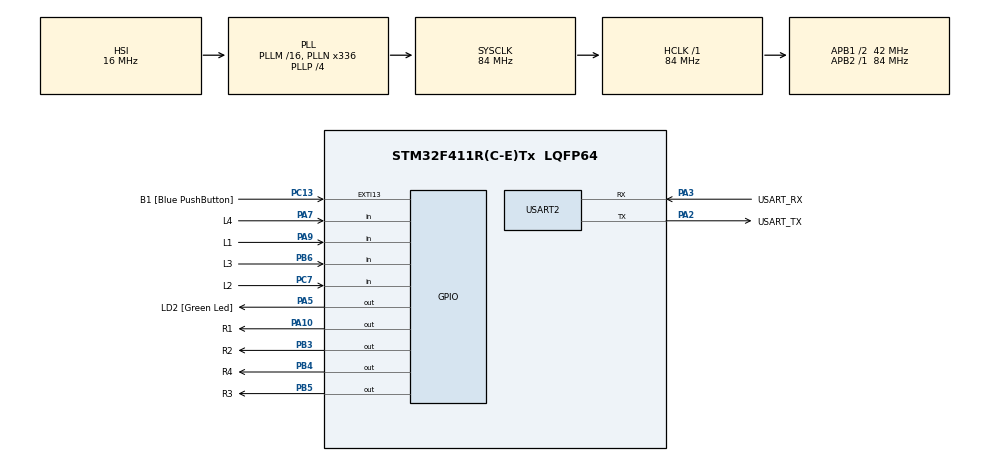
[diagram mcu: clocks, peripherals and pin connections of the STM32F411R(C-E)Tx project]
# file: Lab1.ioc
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Mcu.Family=STM32F4
Mcu.Name=STM32F411R(C-E)Tx
Mcu.Package=LQFP64
NVIC.PriorityGroup=NVIC_PRIORITYGROUP_0
PA10.GPIO_Label=R1
PA10.GPIO_ModeDefaultOutputPP=GPIO_MODE_OUTPUT_OD
PA10.GPIO_PuPd=GPIO_NOPULL
PA10.Signal=GPIO_Output
PA13.GPIO_Label=TMS
PA13.Mode=Serial_Wire
PA13.Signal=SYS_JTMS-SWDIO
PA14.GPIO_Label=TCK
PA14.Mode=Serial_Wire
PA14.Signal=SYS_JTCK-SWCLK
PA2.GPIO_Label=USART_TX
PA2.Mode=Asynchronous
PA2.Signal=USART2_TX
PA3.GPIO_Label=USART_RX
PA3.Mode=Asynchronous
PA3.Signal=USART2_RX
PA5.GPIO_Label=LD2 [Green Led]
PA5.Signal=GPIO_Output
PA7.GPIO_Label=L4
PA7.GPIO_PuPd=GPIO_PULLUP
PA7.Signal=GPIO_Input
PA9.GPIO_Label=L1
PA9.GPIO_PuPd=GPIO_PULLUP
PA9.Signal=GPIO_Input
PB3.GPIO_Label=R2
PB3.GPIO_ModeDefaultOutputPP=GPIO_MODE_OUTPUT_OD
PB3.GPIO_PuPd=GPIO_NOPULL
PB3.Signal=GPIO_Output
PB4.GPIO_Label=R4
PB4.GPIO_ModeDefaultOutputPP=GPIO_MODE_OUTPUT_OD
PB4.GPIO_PuPd=GPIO_NOPULL
PB4.Signal=GPIO_Output
PB5.GPIO_Label=R3
PB5.GPIO_ModeDefaultOutputPP=GPIO_MODE_OUTPUT_OD
PB5.GPIO_PuPd=GPIO_NOPULL
PB5.Signal=GPIO_Output
PB6.GPIO_Label=L3
PB6.GPIO_PuPd=GPIO_PULLUP
PB6.Signal=GPIO_Input
PC13-ANTI_TAMP.GPIO_Label=B1 [Blue PushButton]
PC13-ANTI_TAMP.GPIO_ModeDefaultEXTI=GPIO_MODE_IT_FALLING
PC13-ANTI_TAMP.Signal=GPXTI13
PC14-OSC32_IN.Mode=LSE-External-Oscillator
PC14-OSC32_IN.Signal=RCC_OSC32_IN
PC15-OSC32_OUT.Mode=LSE-External-Oscillator
PC15-OSC32_OUT.Signal=RCC_OSC32_OUT
PC7.GPIO_Label=L2
PC7.GPIO_PuPd=GPIO_PULLUP
PC7.Signal=GPIO_Input
PH0\ -\ OSC_IN.Mode=HSE-External-Clock-Source
PH0\ -\ OSC_IN.Signal=RCC_OSC_IN
PH1\ -\ OSC_OUT.Mode=HSE-External-Clock-Source
PH1\ -\ OSC_OUT.Signal=RCC_OSC_OUT
ProjectManager.HeapSize=0x200
ProjectManager.StackSize=0x400
ProjectManager.TargetToolchain=STM32CubeIDE
RCC.48MHZClocksFreq_Value=84000000
RCC.AHBFreq_Value=84000000
RCC.APB1CLKDivider=RCC_HCLK_DIV2
RCC.APB1Freq_Value=42000000
RCC.APB1TimFreq_Value=84000000
RCC.APB2Freq_Value=84000000
RCC.APB2TimFreq_Value=84000000
RCC.CortexFreq_Value=84000000
RCC.FLatency-AdvancedSettings=FLASH_LATENCY_2
RCC.HCLKFreq_Value=84000000
RCC.HSE_VALUE=8000000
RCC.HSI_VALUE=16000000
RCC.PLLN=336
RCC.PLLP=RCC_PLLP_DIV4
RCC.SYSCLKFreq_VALUE=84000000
RCC.SYSCLKSource=RCC_SYSCLKSOURCE_PLLCLK
RCC.VCOOutputFreq_Value=336000000
USART2.VirtualMode=VM_ASYNC
board=NUCLEO-F411RE

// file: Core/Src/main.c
/* USER CODE BEGIN Header */
/**
  ******************************************************************************
  * @file           : main.c
  * @brief          : Main program body
  ******************************************************************************
  * @attention
  *
  * Copyright (c) 2023 STMicroelectronics.
  * All rights reserved.
  *
  * This software is licensed under terms that can be found in the LICENSE file
  * in the root directory of this software component.
  * If no LICENSE file comes with this software, it is provided AS-IS.
  *
  ******************************************************************************
  */
/* USER CODE END Header */
#include "main.h"

/* USER CODE BEGIN Includes */
#include<stdio.h>
/* USER CODE END Includes */

UART_HandleTypeDef huart2;

/* USER CODE BEGIN PV */
struct Portpin
{
	GPIO_TypeDef* PORT ;
	uint16_t PIN ;
};

struct Portpin R[4] = {
		{GPIOA,GPIO_PIN_10},
		{GPIOB,GPIO_PIN_3},
		{GPIOB,GPIO_PIN_5},
		{GPIOB,GPIO_PIN_4}
};
struct Portpin L[4] = {
		{GPIOA,GPIO_PIN_9},
		{GPIOC,GPIO_PIN_7},
		{GPIOB,GPIO_PIN_6},
		{GPIOA,GPIO_PIN_7}
};

uint16_t ButtonMatrix = 0 ;
uint16_t position = 0 ;
uint16_t data = 0 ;
uint16_t check = 0 ;
char TrueID [11] = {6,4,3,4,0,5,0,0,0,0,9};
char ID [11] = {0} ;
/* USER CODE END PV */

void SystemClock_Config(void);
static void MX_GPIO_Init(void);
static void MX_USART2_UART_Init(void);
/* USER CODE BEGIN PFP */
void ReadMatrixButton_1Row();
/* USER CODE END PFP */

int main(void)
{

  /* MCU Configuration--------------------------------------------------------*/

  /* Reset of all peripherals, Initializes the Flash interface and the Systick. */
  HAL_Init();

  /* Configure the system clock */
  SystemClock_Config();

  /* Initialize all configured peripherals */
  MX_GPIO_Init();
  MX_USART2_UART_Init();

  /* Infinite loop */
  while (1)
  {

    /* USER CODE BEGIN 3 */
	  static uint32_t timestamp = 0;
	  static uint32_t delay = 20;
	  if(HAL_GetTick() >= timestamp)
	  	  	{
	  	  		timestamp = HAL_GetTick() + delay ;
	  	  		ReadMatrixButton_1Row();
	  	  		if (ButtonMatrix == 8 && data == 0)
	  	  		{
	  	  			ID[position] = 0 ;
	  	  			position += 1 ;
	  	  			data = 1 ;
	  	  		}
	  	  		else if (ButtonMatrix == 4 && data == 0)
	  	  		{
	  	  			ID[position] = 1 ;
	  	  			position += 1 ;
	  	  			data = 1 ;
	  	  		}
	  	  	    else if (ButtonMatrix == 64 && data == 0)
	   	  		{
	  	  		  	ID[position] = 2 ;
	  	  		  	position += 1 ;
	  	  		  	data = 1 ;
	   	  		}
	  	  	    else if (ButtonMatrix == 1024 && data == 0)
	  	  		{
	  	   		  	ID[position] = 3 ;
	  	  		  	position += 1 ;
  	  		  	    data = 1 ;
	  	  		}
	  	  	    else if (ButtonMatrix == 2 && data == 0)
	  	  		{
	  	  		   	ID[position] = 4 ;
	  	  		  	position += 1 ;
	  		  	    data = 1 ;
	  	  		}
	  	  	    else if (ButtonMatrix == 32 && data == 0)
	  	  		{
	  	  		  	ID[position] = 5 ;
	  	  		  	position += 1 ;
	  	  	  	    data = 1 ;
	  	  		}
	  	  	    else if (ButtonMatrix == 512 && data == 0)
	  	   		{
	  	  	  	    ID[position] = 6 ;
	  	  	  	    position += 1 ;
	  	    	    data = 1 ;
 	  	  		}
	  	  	    else if (ButtonMatrix == 1 && data == 0)
	  		  	{
	  		  	    ID[position] = 7 ;
	  		  	  	position += 1 ;
	  	  	  		data = 1 ;
	  		  	}
	  	  	    else if (ButtonMatrix == 16 && data == 0)
	  		  	{
	  		  	    ID[position] = 8 ;
	  		  	  	position += 1 ;
	  	  	  		data = 1 ;
	  		  	}
	  	  	    else if (ButtonMatrix == 256 && data == 0)
	  		  	{
	  		  	    ID[position] = 9 ;
	  		  	    position += 1 ;
	  	  	  		data = 1 ;
	  		  	}
	  	  	    else if (ButtonMatrix == 4096 && data == 0)
	  	  		{
	  	  		  register int j  ;
	  	  		  HAL_GPIO_WritePin(GPIOA, GPIO_PIN_5, GPIO_PIN_RESET);
	  	  		  data = 1 ;
	  	  		  position = 0 ;
	  	  		  for(j = 0;j<11;j++)
	  	  		  {
	  	  			  ID [j] = 0 ;
	  	  		  }
	  	  		}
	  	  	    else if (ButtonMatrix == 8192 && data == 0)
	  	  		{
	  	  	    	 data = 1 ;
	  	  	    	 if(position == 0)
	  	  		  	 {
	  	  	    			ID[10] = 0 ;
	  	  		  	   		position = 10 ;

	  	  		  	 }
	  	  		  	 else if(position > 0)
	  	  		  	 {
	  	  		  		 ID[position-1] = 0 ;
	  	  		  		 position -=1 ;
	  	  		  	 }
	  	  		}
	  	  	    else if (ButtonMatrix == 32768 && data == 0)
	  	  		{
	  	  	    	data = 1 ;
	  	  	    	register i ;
	  	  	    	for(i = 0;i<11;i++)
	  	  	    	{
	  	  	    	  if(ID [i] == TrueID[i])
	  	  	    	  {
	  	  	    	  	  check = 1 ;
	  	  	    	  }
	  	  	    	  else
	  	  	    	  {
	  	  	    	  	  check = 0 ;
	  	  	    	  }
	  	  	    	  	  		}
	  	  	    	if(check == 1)
	  	  	    	{
	  	  	    		HAL_GPIO_WritePin(GPIOA, GPIO_PIN_5, GPIO_PIN_SET);
	  	  	    	}
	  	  	    	else {
	  	  	    		HAL_GPIO_WritePin(GPIOA, GPIO_PIN_5, GPIO_PIN_RESET);
	  	  	    	}
	  	  		}
	  	  		if(ButtonMatrix == 0 && data == 1)
	  	  		{
	  	  			data = 0 ;
	  	  		}
	  	  		if(position == 11)
	  	  		{
	  	  			position = 0;
	  	  		}
	  	  	}

  }
  /* USER CODE END 3 */
}

void SystemClock_Config(void)
{
  RCC_OscInitTypeDef RCC_OscInitStruct = {0};
  RCC_ClkInitTypeDef RCC_ClkInitStruct = {0};

  /** Configure the main internal regulator output voltage
  */
  __HAL_RCC_PWR_CLK_ENABLE();
  __HAL_PWR_VOLTAGESCALING_CONFIG(PWR_REGULATOR_VOLTAGE_SCALE1);

  /** Initializes the RCC Oscillators according to the specified parameters
  * in the RCC_OscInitTypeDef structure.
  */
  RCC_OscInitStruct.OscillatorType = RCC_OSCILLATORTYPE_HSI;
  RCC_OscInitStruct.HSIState = RCC_HSI_ON;
  RCC_OscInitStruct.HSICalibrationValue = RCC_HSICALIBRATION_DEFAULT;
  RCC_OscInitStruct.PLL.PLLState = RCC_PLL_ON;
  RCC_OscInitStruct.PLL.PLLSource = RCC_PLLSOURCE_HSI;
  RCC_OscInitStruct.PLL.PLLM = 16;
  RCC_OscInitStruct.PLL.PLLN = 336;
  RCC_OscInitStruct.PLL.PLLP = RCC_PLLP_DIV4;
  RCC_OscInitStruct.PLL.PLLQ = 4;
  if (HAL_RCC_OscConfig(&RCC_OscInitStruct) != HAL_OK)
  {
    Error_Handler();
  }

  /** Initializes the CPU, AHB and APB buses clocks
  */
  RCC_ClkInitStruct.ClockType = RCC_CLOCKTYPE_HCLK|RCC_CLOCKTYPE_SYSCLK
                              |RCC_CLOCKTYPE_PCLK1|RCC_CLOCKTYPE_PCLK2;
  RCC_ClkInitStruct.SYSCLKSource = RCC_SYSCLKSOURCE_PLLCLK;
  RCC_ClkInitStruct.AHBCLKDivider = RCC_SYSCLK_DIV1;
  RCC_ClkInitStruct.APB1CLKDivider = RCC_HCLK_DIV2;
  RCC_ClkInitStruct.APB2CLKDivider = RCC_HCLK_DIV1;

  if (HAL_RCC_ClockConfig(&RCC_ClkInitStruct, FLASH_LATENCY_2) != HAL_OK)
  {
    Error_Handler();
  }
}

static void MX_USART2_UART_Init(void)
{

  huart2.Instance = USART2;
  huart2.Init.BaudRate = 115200;
  huart2.Init.WordLength = UART_WORDLENGTH_8B;
  huart2.Init.StopBits = UART_STOPBITS_1;
  huart2.Init.Parity = UART_PARITY_NONE;
  huart2.Init.Mode = UART_MODE_TX_RX;
  huart2.Init.HwFlowCtl = UART_HWCONTROL_NONE;
  huart2.Init.OverSampling = UART_OVERSAMPLING_16;
  if (HAL_UART_Init(&huart2) != HAL_OK)
  {
    Error_Handler();
  }

}

static void MX_GPIO_Init(void)
{
  GPIO_InitTypeDef GPIO_InitStruct = {0};

  /* GPIO Ports Clock Enable */
  __HAL_RCC_GPIOC_CLK_ENABLE();
  __HAL_RCC_GPIOH_CLK_ENABLE();
  __HAL_RCC_GPIOA_CLK_ENABLE();
  __HAL_RCC_GPIOB_CLK_ENABLE();

  /*Configure GPIO pin Output Level */
  HAL_GPIO_WritePin(GPIOA, LD2_Pin|R1_Pin, GPIO_PIN_RESET);

  /*Configure GPIO pin Output Level */
  HAL_GPIO_WritePin(GPIOB, R2_Pin|R4_Pin|R3_Pin, GPIO_PIN_RESET);

  /*Configure GPIO pin : B1_Pin */
  GPIO_InitStruct.Pin = B1_Pin;
  GPIO_InitStruct.Mode = GPIO_MODE_IT_FALLING;
  GPIO_InitStruct.Pull = GPIO_NOPULL;
  HAL_GPIO_Init(B1_GPIO_Port, &GPIO_InitStruct);

  /*Configure GPIO pin : LD2_Pin */
  GPIO_InitStruct.Pin = LD2_Pin;
  GPIO_InitStruct.Mode = GPIO_MODE_OUTPUT_PP;
  GPIO_InitStruct.Pull = GPIO_NOPULL;
  GPIO_InitStruct.Speed = GPIO_SPEED_FREQ_LOW;
  HAL_GPIO_Init(LD2_GPIO_Port, &GPIO_InitStruct);

  /*Configure GPIO pins : L4_Pin L1_Pin */
  GPIO_InitStruct.Pin = L4_Pin|L1_Pin;
  GPIO_InitStruct.Mode = GPIO_MODE_INPUT;
  GPIO_InitStruct.Pull = GPIO_PULLUP;
  HAL_GPIO_Init(GPIOA, &GPIO_InitStruct);

  /*Configure GPIO pin : L2_Pin */
  GPIO_InitStruct.Pin = L2_Pin;
  GPIO_InitStruct.Mode = GPIO_MODE_INPUT;
  GPIO_InitStruct.Pull = GPIO_PULLUP;
  HAL_GPIO_Init(L2_GPIO_Port, &GPIO_InitStruct);

  /*Configure GPIO pin : R1_Pin */
  GPIO_InitStruct.Pin = R1_Pin;
  GPIO_InitStruct.Mode = GPIO_MODE_OUTPUT_OD;
  GPIO_InitStruct.Pull = GPIO_NOPULL;
  GPIO_InitStruct.Speed = GPIO_SPEED_FREQ_LOW;
  HAL_GPIO_Init(R1_GPIO_Port, &GPIO_InitStruct);

  /*Configure GPIO pins : R2_Pin R4_Pin R3_Pin */
  GPIO_InitStruct.Pin = R2_Pin|R4_Pin|R3_Pin;
  GPIO_InitStruct.Mode = GPIO_MODE_OUTPUT_OD;
  GPIO_InitStruct.Pull = GPIO_NOPULL;
  GPIO_InitStruct.Speed = GPIO_SPEED_FREQ_LOW;
  HAL_GPIO_Init(GPIOB, &GPIO_InitStruct);

  /*Configure GPIO pin : L3_Pin */
  GPIO_InitStruct.Pin = L3_Pin;
  GPIO_InitStruct.Mode = GPIO_MODE_INPUT;
  GPIO_InitStruct.Pull = GPIO_PULLUP;
  HAL_GPIO_Init(L3_GPIO_Port, &GPIO_InitStruct);

}

/* USER CODE BEGIN 4 */
void ReadMatrixButton_1Row(){
	static uint8_t x = 0 ;
	register int i ;
	for(i=0;i<4;i++)
	{
		if(HAL_GPIO_ReadPin(L[i].PORT, L[i].PIN))
		{
			ButtonMatrix &= ~(1<<x*4+i);
		}
		else
		{
			ButtonMatrix |= 1<<(x*4+i);
		}

	}
	//set RX
	HAL_GPIO_WritePin(R[x].PORT, R[x].PIN, 1);
	//Reset RX+1%4
	HAL_GPIO_WritePin(R[(x+1)%4].PORT, R[(x+1)%4].PIN, 0);
	x++;
	x%=4;
}

/* USER CODE END 4 */

void Error_Handler(void)
{
  __disable_irq();
  while (1)
  {
  }
}
